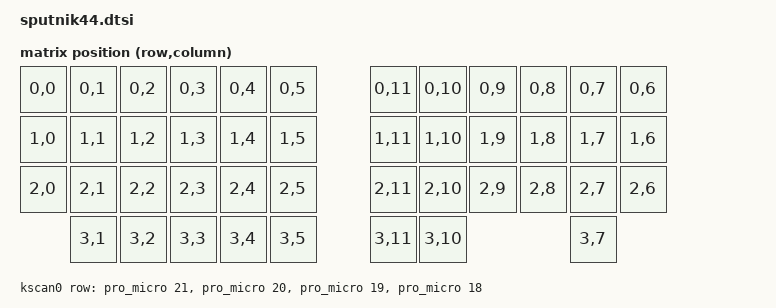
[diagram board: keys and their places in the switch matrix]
#include <dt-bindings/zmk/matrix_transform.h>
#include <physical_layouts.dtsi>

/ {
    layouts_sputnik44_position_map: layouts_sputnik44_position_map {
        compatible = "zmk,physical-layout-position-map";
        complete;
    };
};

/ {
    sputnik44_layout: sputnik44_layout {
        compatible = "zmk,physical-layout";
        display-name = "44 Key";

        keys  //                     w   h    x    y     rot    rx    ry
            = <&key_physical_attrs 100 100    0    0       0     0     0>
            , <&key_physical_attrs 100 100  100    0       0     0     0>
            , <&key_physical_attrs 100 100  200    0       0     0     0>
            , <&key_physical_attrs 100 100  300    0       0     0     0>
            , <&key_physical_attrs 100 100  400    0       0     0     0>
            , <&key_physical_attrs 100 100  500    0       0     0     0>
            , <&key_physical_attrs 100 100  700    0       0     0     0>
            , <&key_physical_attrs 100 100  800    0       0     0     0>
            , <&key_physical_attrs 100 100  900    0       0     0     0>
            , <&key_physical_attrs 100 100 1000    0       0     0     0>
            , <&key_physical_attrs 100 100 1100    0       0     0     0>
            , <&key_physical_attrs 100 100 1200    0       0     0     0>
            , <&key_physical_attrs 100 100    0  100       0     0     0>
            , <&key_physical_attrs 100 100  100  100       0     0     0>
            , <&key_physical_attrs 100 100  200  100       0     0     0>
            , <&key_physical_attrs 100 100  300  100       0     0     0>
            , <&key_physical_attrs 100 100  400  100       0     0     0>
            , <&key_physical_attrs 100 100  500  100       0     0     0>
            , <&key_physical_attrs 100 100  700  100       0     0     0>
            , <&key_physical_attrs 100 100  800  100       0     0     0>
            , <&key_physical_attrs 100 100  900  100       0     0     0>
            , <&key_physical_attrs 100 100 1000  100       0     0     0>
            , <&key_physical_attrs 100 100 1100  100       0     0     0>
            , <&key_physical_attrs 100 100 1200  100       0     0     0>
            , <&key_physical_attrs 100 100    0  200       0     0     0>
            , <&key_physical_attrs 100 100  100  200       0     0     0>
            , <&key_physical_attrs 100 100  200  200       0     0     0>
            , <&key_physical_attrs 100 100  300  200       0     0     0>
            , <&key_physical_attrs 100 100  400  200       0     0     0>
            , <&key_physical_attrs 100 100  500  200       0     0     0>
            , <&key_physical_attrs 100 100  700  200       0     0     0>
            , <&key_physical_attrs 100 100  800  200       0     0     0>
            , <&key_physical_attrs 100 100  900  200       0     0     0>
            , <&key_physical_attrs 100 100 1000  200       0     0     0>
            , <&key_physical_attrs 100 100 1100  200       0     0     0>
            , <&key_physical_attrs 100 100 1200  200       0     0     0>
            , <&key_physical_attrs 100 100  100  300       0     0     0>
            , <&key_physical_attrs 100 100  200  300       0     0     0>
            , <&key_physical_attrs 100 100  300  300       0     0     0>
            , <&key_physical_attrs 100 100  400  300       0     0     0>
            , <&key_physical_attrs 100 100  500  300       0     0     0>
            , <&key_physical_attrs 100 100  700  300       0     0     0>
            , <&key_physical_attrs 100 100  800  300       0     0     0>
            , <&key_physical_attrs 100 100 1100  300       0     0     0>
            ;
    };
};

&layouts_sputnik44_position_map {
    yutingwang_keyball44_posmap: six {
        physical-layout = <&sputnik44_layout>;
        positions
            = < 0  1  2  3  4  5  6  7  8  9 10 11>
            , <12 13 14 15 16 17 18 19 20 21 22 23>
            , <24 25 26 27 28 29 30 31 32 33 34 35>
            , <   36 37 38 39 40 41 42          43>;
    };
};

&sputnik44_layout {
    transform = <&default_transform>;
};

/ {
    chosen {
        zephyr,display = &oled;
        zmk,kscan = &kscan0;
        zmk,physical-layout = &sputnik44_layout;
    };

    default_transform: keymap_transform_0 {
		compatible = "zmk,matrix-transform";
        columns = <12>;
        rows = <4>;

        map = <
            RC(0,0) RC(0,1) RC(0,2) RC(0,3) RC(0,4) RC(0,5)                      RC(0,11) RC(0,10) RC(0,9) RC(0,8) RC(0,7) RC(0,6)
            RC(1,0) RC(1,1) RC(1,2) RC(1,3) RC(1,4) RC(1,5)                      RC(1,11) RC(1,10) RC(1,9) RC(1,8) RC(1,7) RC(1,6)
            RC(2,0) RC(2,1) RC(2,2) RC(2,3) RC(2,4) RC(2,5)                      RC(2,11) RC(2,10) RC(2,9) RC(2,8) RC(2,7) RC(2,6)
                    RC(3,1) RC(3,2) RC(3,3) RC(3,4) RC(3,5)                      RC(3,11) RC(3,10)                 RC(3,7)
        >;
    };
	
    kscan0: kscan {
        compatible = "zmk,kscan-gpio-matrix";
        label = "KSCAN";

        diode-direction = "col2row";
		row-gpios
			= <&pro_micro 21 (GPIO_ACTIVE_HIGH | GPIO_PULL_DOWN)>
			, <&pro_micro 20 (GPIO_ACTIVE_HIGH | GPIO_PULL_DOWN)>
			, <&pro_micro 19 (GPIO_ACTIVE_HIGH | GPIO_PULL_DOWN)>
			, <&pro_micro 18 (GPIO_ACTIVE_HIGH | GPIO_PULL_DOWN)>
            ;
    };
};    

&pinctrl {
    i2c0_default: i2c0_default {
        group1 {
            psels = <NRF_PSEL(TWIM_SDA, 0, 17)>,
                    <NRF_PSEL(TWIM_SCL, 0, 20)>;
        };
    };

    i2c0_sleep: i2c0_sleep {
        group1 {
            psels = <NRF_PSEL(TWIM_SDA, 0, 17)>,
                    <NRF_PSEL(TWIM_SCL, 0, 20)>;
            low-power-enable;
        };
    };
};

&i2c0 {
    status = "okay";
    compatible = "nordic,nrf-twi";
    pinctrl-0 = <&i2c0_default>;
    pinctrl-1 = <&i2c0_sleep>;
    pinctrl-names = "default", "sleep";

    oled: ssd1306@3c {
        compatible = "solomon,ssd1306fb";
        reg = <0x3c>;
        width = <128>;
        height = <32>;
        segment-offset = <0>;
        page-offset = <0>;
        display-offset = <0>;
        multiplex-ratio = <31>;
        segment-remap;
        com-invdir;
        com-sequential;
        inversion-on;
        prechargep = <0x22>;
    };
};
